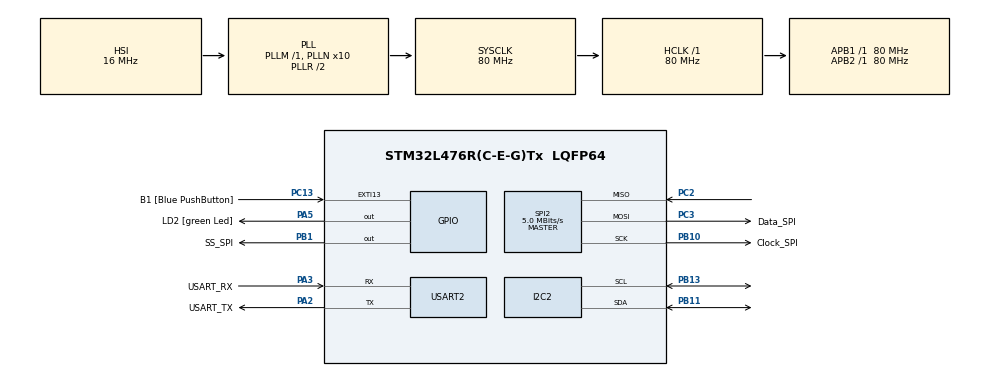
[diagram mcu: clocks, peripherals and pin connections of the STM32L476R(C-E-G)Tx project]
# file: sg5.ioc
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I2C2.Timing=0x10D19CE4
Mcu.Family=STM32L4
Mcu.Name=STM32L476R(C-E-G)Tx
Mcu.Package=LQFP64
NVIC.PriorityGroup=NVIC_PRIORITYGROUP_4
NVIC.TIM6_DAC_IRQn=true\:0\:0\:false\:false\:true\:true\:true\:true
NVIC.USART2_IRQn=true\:0\:0\:false\:false\:true\:true\:true\:true
PA13\ (JTMS-SWDIO).GPIO_Label=TMS
PA13\ (JTMS-SWDIO).Signal=SYS_JTMS-SWDIO
PA14\ (JTCK-SWCLK).GPIO_Label=TCK
PA14\ (JTCK-SWCLK).Signal=SYS_JTCK-SWCLK
PA2.GPIO_Label=USART_TX
PA2.GPIO_Mode=GPIO_MODE_AF_PP
PA2.GPIO_PuPd=GPIO_NOPULL
PA2.GPIO_Speed=GPIO_SPEED_FREQ_VERY_HIGH
PA2.Mode=Asynchronous
PA2.Signal=USART2_TX
PA3.GPIO_Label=USART_RX
PA3.GPIO_Mode=GPIO_MODE_AF_PP
PA3.GPIO_PuPd=GPIO_NOPULL
PA3.GPIO_Speed=GPIO_SPEED_FREQ_VERY_HIGH
PA3.Mode=Asynchronous
PA3.Signal=USART2_RX
PA5.GPIO_Label=LD2 [green Led]
PA5.GPIO_ModeDefaultOutputPP=GPIO_MODE_OUTPUT_PP
PA5.GPIO_PuPd=GPIO_NOPULL
PA5.GPIO_Speed=GPIO_SPEED_FREQ_LOW
PA5.Signal=GPIO_Output
PB1.GPIO_Label=SS_SPI
PB1.GPIO_PuPd=GPIO_PULLDOWN
PB1.GPIO_Speed=GPIO_SPEED_FREQ_VERY_HIGH
PB1.PinState=GPIO_PIN_RESET
PB1.Signal=GPIO_Output
PB10.GPIO_Label=Clock_SPI
PB10.Mode=Full_Duplex_Master
PB10.Signal=SPI2_SCK
PB11.Mode=I2C
PB11.Signal=I2C2_SDA
PB13.Mode=I2C
PB13.Signal=I2C2_SCL
PB3\ (JTDO-TRACESWO).GPIO_Label=SWO
PB3\ (JTDO-TRACESWO).Signal=SYS_JTDO-SWO
PC13.GPIO_Label=B1 [Blue PushButton]
PC13.GPIO_ModeDefaultEXTI=GPIO_MODE_IT_FALLING
PC13.GPIO_PuPd=GPIO_NOPULL
PC13.Signal=GPXTI13
PC14-OSC32_IN\ (PC14).Signal=RCC_OSC32_IN
PC15-OSC32_OUT\ (PC15).Signal=RCC_OSC32_OUT
PC2.Mode=Full_Duplex_Master
PC2.Signal=SPI2_MISO
PC3.GPIO_Label=Data_SPI
PC3.Mode=Full_Duplex_Master
PC3.Signal=SPI2_MOSI
PH0-OSC_IN\ (PH0).Signal=RCC_OSC_IN
PH1-OSC_OUT\ (PH1).Signal=RCC_OSC_OUT
ProjectManager.HeapSize=0x200
ProjectManager.StackSize=0x400
ProjectManager.TargetToolchain=STM32CubeIDE
RCC.ADCFreq_Value=64000000
RCC.AHBFreq_Value=80000000
RCC.APB1Freq_Value=80000000
RCC.APB1TimFreq_Value=80000000
RCC.APB2Freq_Value=80000000
RCC.APB2TimFreq_Value=80000000
RCC.CortexFreq_Value=80000000
RCC.HCLKFreq_Value=80000000
RCC.HSE_VALUE=8000000
RCC.HSI_VALUE=16000000
RCC.LSE_VALUE=32768
RCC.MSI_VALUE=4000000
RCC.PLLN=10
RCC.PLLSourceVirtual=RCC_PLLSOURCE_HSI
RCC.PREFETCH_ENABLE=1
RCC.SYSCLKFreq_VALUE=80000000
RCC.SYSCLKSource=RCC_SYSCLKSOURCE_PLLCLK
RCC.USBFreq_Value=64000000
RCC.VCOOutputFreq_Value=160000000
SPI2.BaudRatePrescaler=SPI_BAUDRATEPRESCALER_16
SPI2.CalculateBaudRate=5.0 MBits/s
SPI2.DataSize=SPI_DATASIZE_8BIT
SPI2.Direction=SPI_DIRECTION_2LINES
SPI2.Mode=SPI_MODE_MASTER
SPI2.NSSPMode=SPI_NSS_PULSE_DISABLE
SPI2.VirtualType=VM_MASTER
TIM6.Period=10000
TIM6.Prescaler=8000-1
USART2.VirtualMode-Asynchronous=VM_ASYNC
VP_TIM6_VS_ClockSourceINT.Mode=Enable_Timer
board=NUCLEO-L476RG

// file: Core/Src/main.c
/* USER CODE BEGIN Header */
/**
  ******************************************************************************
  * @file           : main.c
  * @brief          : Main program body
  ******************************************************************************
  * @attention
  *
  * Copyright (c) 2026 STMicroelectronics.
  * All rights reserved.
  *
  * This software is licensed under terms that can be found in the LICENSE file
  * in the root directory of this software component.
  * If no LICENSE file comes with this software, it is provided AS-IS.
  *
  ******************************************************************************
  */

/* USER CODE END Header */
#include "main.h"
#include "i2c.h"
#include "spi.h"
#include "tim.h"
#include "usart.h"
#include "gpio.h"

/* USER CODE BEGIN Includes */
#include "interrupcion.h"
#include <stdio.h>
#include "Compensada.h"
/* USER CODE END Includes */

/* USER CODE BEGIN PD */
//I2C

uint8_t RTCConfig[9] = {0x00,
						Reg0,
						Reg1,
						Reg2,
						Reg3,
						Reg4,
						Reg5,
						Reg6,
						Reg7
};

uint8_t RTCRead[7];

uint8_t segundos;
uint8_t minutos;
uint8_t seg;
uint8_t Decseg;
uint8_t	min;
uint8_t	Decmin;
uint8_t	hr;
uint8_t	Dechr;
uint8_t DiaSel;

uint8_t ufecha;
uint8_t	Dechfecha;
uint8_t	mehs;
uint8_t	Decmes;
uint8_t	anuel;
uint8_t	AnuelBr;

char *day;
char semana[7][9]= {"Lunes",
				"Martes",
				"Miercoles",
				"Jueves",
				"Viernes",
				"Sábado",
				"Momingo"};
/* USER CODE END PD */

void SystemClock_Config(void);

/* USER CODE BEGIN 0 */

 uint8_t flag_escribir_uart = 0;
float lectura_presion = 0;
float lectura_temperatura = 0;
int32_t temperatura_compensada =0;
uint32_t presion_compensada = 0;
int32_t  t_fine;
uint16_t dig_T1;
int16_t dig_T2, dig_T3;
uint16_t dig_P1;
int16_t dig_P2, dig_P3, dig_P4, dig_P5, dig_P6, dig_P7, dig_P8, dig_P9;

/* USER CODE END 0 */

int main(void)
{

  /* MCU Configuration--------------------------------------------------------*/

  /* Reset of all peripherals, Initializes the Flash interface and the Systick. */
  HAL_Init();

  /* Configure the system clock */
  SystemClock_Config();

  /* Initialize all configured peripherals */
  MX_GPIO_Init();
  MX_SPI2_Init();
  MX_TIM6_Init();
  MX_USART2_UART_Init();
  MX_I2C2_Init();
  /* USER CODE BEGIN 2 */
  //HAL_I2C_Init(&hi2c2);
  //HAL_I2C_Master_Transmit(&hi2c2, SlaveAddW, RTCConfig, 9, 100);

  HAL_TIM_Base_Start_IT(&htim6); //inicia timer6 cada 1 segundo ocurrirá una interrupcion
  CS_Enable();
  HAL_Delay(100);

  uint8_t tx_id[2] = {0xD0 | 0x80, 0x00}; // 0xD0|0x80 = 0xD0 (la dirección de ID del BME280 es 0xD0, bit7 ya es 1)
  uint8_t rx_id[2] = {0};
  CS_Enable();
  HAL_SPI_TransmitReceive(&hspi2, tx_id, rx_id, 2, 100);
  CS_Disable();
  printf("Chip ID: %h",rx_id[1]);

  Config_BMX280(); // inicializa los oversampling y el modo del bmp
  // consigue los valores de calibracion, para que cada vez que se lea
  // un dato se convierta en el correspondiente

  /* USER CODE END 2 */

  /* Infinite loop */
  /* USER CODE BEGIN WHILE */
  while (1)
  {

	  if(flag_escribir_uart){ //flag activada en la interrupcion

		  //HAL_I2C_Master_Receive(&hi2c2, SlaveAddR, RTCRead, 7, 100);
		  HAL_I2C_Mem_Read(&hi2c2, SlaveAddR,0x00,1, RTCRead, 7,100);

		  //I2C_HandleTypeDef *hi2c, uint16_t DevAddress, uint16_t MemAddress,
		  //                                   uint16_t MemAddSize, uint8_t *pData, uint16_t Size, uint32_t Timeout
		  seg = RTCRead[0] & 0b00001111;
		  Decseg = (RTCRead[0] & 0b01110000) >> 4;
		  min = RTCRead[1] & 0b00001111;
		  Decmin = (RTCRead[1] & 0b01110000) >> 4 ;
		  hr = RTCRead[2] & 0b00001111;
		  Dechr = (RTCRead[2] & 0b00110000) >> 4 ;
		  DiaSel = RTCRead[3] & 0b00000111;
		  switch (DiaSel) {
			  default : day = semana[0] ; break;
			  case 1: day = semana[1]; break;
			  case 2: day = semana[2]; break;
			  case 3: day = semana[3]; break;
			  case 4: day = semana[4]; break;
			  case 5: day = semana[5]; break;
			  case 6: day = semana[6]; break;

		  }
		  ufecha = RTCRead[4] & 0b00001111;
		  Dechfecha = (RTCRead[4] & 0b00110000) >> 4 ;
		  mehs =  RTCRead[5] & 0b00001111;
		  Decmes = (RTCRead[5] & 0b00010000) >> 4 ;
		  anuel = RTCRead[6] & 0b00001111;
		  AnuelBr = (RTCRead[6] & 0b11110000) >> 4 ;

		  //__disable_irq(); //desactiva la interrupcion
		  lectura_presion = Leer_Presion(); //lee el valor crudo de la presion
		  lectura_temperatura = Leer_Temperatura(); // lee el valor crudo de la temperatura
		  temperatura_compensada =BME280_compensate_T_int32(lectura_temperatura); //Se utiliza los datos de la libreria para
		  //compensar las no linealidades del sensor
		  //El fabricante deja un codigo dentro del datasheet para calcular este ajuste
		  presion_compensada = BME280_compensate_P_int32(lectura_presion);
		  //printf("%.2f	-	%.1f\n\r",(float)(temperatura_compensada/100.0f), (float)(presion_compensada/10.0f));
		  //printf("Presion: %.1f\n\r",(float)(presion_compensada/10.0f));
		  //printf("")

		  //printf("AñoD:%u\nAño:%u\nMesD:%u\nMes:%u\nDiaD:%u\nDia%u\nHoraD%u\nHora%u\nMinutoD:%u\nMinuto:%u\nSegD:%u\nSeg:%u Presion: %.1f\n\r", AnuelBr, anuel,Decmes,mehs,Dechfecha,ufecha,Dechr,hr,Decmin,min,Decseg,seg, (float)presion_compensada);
		  printf("20%u%u-%u%u-%u%u %u%u:%u%u:%u%u Presion [hPa]: %.1f\n\r", AnuelBr, anuel,Decmes,mehs,Dechfecha,ufecha,Dechr,hr,Decmin,min,Decseg,seg, (float)presion_compensada/100.f);//Escribe en la consola serial
		  flag_escribir_uart = 0; //Baja la flag del timer , asi permite que dentro de 1000ms se vuelva a activar
		  //__enable_irq();

	  }

    /* USER CODE END WHILE */

    /* USER CODE BEGIN 3 */

	  //I2C

  }
  /* USER CODE END 3 */
}

void SystemClock_Config(void)
{
  RCC_OscInitTypeDef RCC_OscInitStruct = {0};
  RCC_ClkInitTypeDef RCC_ClkInitStruct = {0};

  /** Configure the main internal regulator output voltage
  */
  if (HAL_PWREx_ControlVoltageScaling(PWR_REGULATOR_VOLTAGE_SCALE1) != HAL_OK)
  {
    Error_Handler();
  }

  /** Initializes the RCC Oscillators according to the specified parameters
  * in the RCC_OscInitTypeDef structure.
  */
  RCC_OscInitStruct.OscillatorType = RCC_OSCILLATORTYPE_HSI;
  RCC_OscInitStruct.HSIState = RCC_HSI_ON;
  RCC_OscInitStruct.HSICalibrationValue = RCC_HSICALIBRATION_DEFAULT;
  RCC_OscInitStruct.PLL.PLLState = RCC_PLL_ON;
  RCC_OscInitStruct.PLL.PLLSource = RCC_PLLSOURCE_HSI;
  RCC_OscInitStruct.PLL.PLLM = 1;
  RCC_OscInitStruct.PLL.PLLN = 10;
  RCC_OscInitStruct.PLL.PLLP = RCC_PLLP_DIV7;
  RCC_OscInitStruct.PLL.PLLQ = RCC_PLLQ_DIV2;
  RCC_OscInitStruct.PLL.PLLR = RCC_PLLR_DIV2;
  if (HAL_RCC_OscConfig(&RCC_OscInitStruct) != HAL_OK)
  {
    Error_Handler();
  }

  /** Initializes the CPU, AHB and APB buses clocks
  */
  RCC_ClkInitStruct.ClockType = RCC_CLOCKTYPE_HCLK|RCC_CLOCKTYPE_SYSCLK
                              |RCC_CLOCKTYPE_PCLK1|RCC_CLOCKTYPE_PCLK2;
  RCC_ClkInitStruct.SYSCLKSource = RCC_SYSCLKSOURCE_PLLCLK;
  RCC_ClkInitStruct.AHBCLKDivider = RCC_SYSCLK_DIV1;
  RCC_ClkInitStruct.APB1CLKDivider = RCC_HCLK_DIV1;
  RCC_ClkInitStruct.APB2CLKDivider = RCC_HCLK_DIV1;

  if (HAL_RCC_ClockConfig(&RCC_ClkInitStruct, FLASH_LATENCY_4) != HAL_OK)
  {
    Error_Handler();
  }
}

void Error_Handler(void)
{
  __disable_irq();
  while (1)
  {
  }
}
